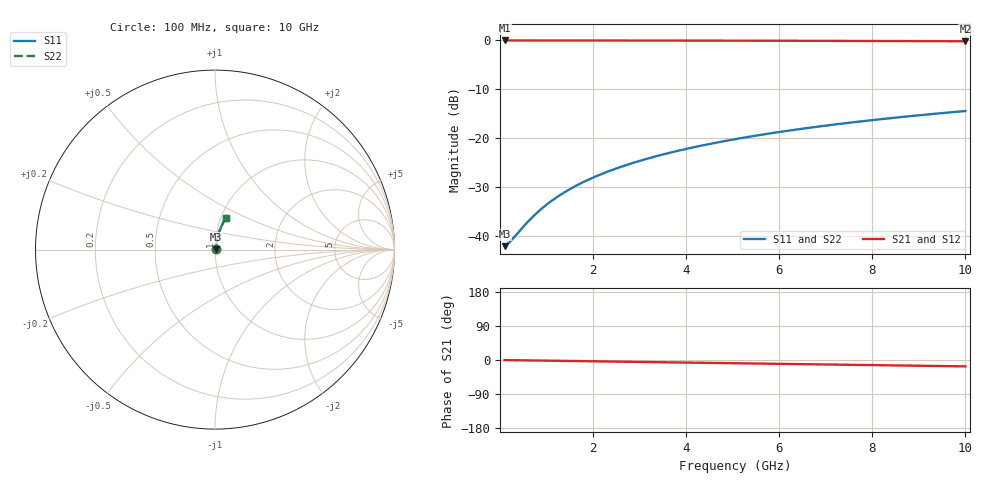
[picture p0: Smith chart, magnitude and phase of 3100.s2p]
# Hz S RI R 50.00
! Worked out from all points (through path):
!   100 points, 100 MHz to 10 GHz, reference 50 ohm
!   highest |S21| = -0.07 dB at 100 MHz (marker M1); lowest = -0.2 dB at 10 GHz (marker M2)
!   group delay of S21, straight-line fit = 4.67 ps
!   lowest |S11| = -42.1 dB at 100 MHz (marker M3), VSWR 1.02, Z = 50.8 + j0.194 ohm
!   |S11| at or under -10 dB: start of sweep to end of sweep
!   |S22| runs from -42.1 to -14.5 dB; largest |S21 - S12| = 0
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1e8  0.00764 0.00191  0.9924 -0.00294  0.9924 -0.00294  0.00764 0.00191
2e8  0.00771 0.00382  0.9923 -0.00588  0.9923 -0.00588  0.00771 0.00382
3e8  0.00777 0.00573  0.9922 -0.00882  0.9922 -0.00882  0.00777 0.00573
5e8  0.00792 0.00956  0.9921 -0.0147  0.9921 -0.0147  0.00792 0.00956
7e8  0.0081 0.0134  0.9919 -0.0206  0.9919 -0.0206  0.0081 0.0134
8e8  0.0082 0.0153  0.9918 -0.0235  0.9918 -0.0235  0.0082 0.0153
1e9  0.00844 0.0191  0.9915 -0.0294  0.9915 -0.0294  0.00844 0.0191
1.2e9  0.00872 0.0229  0.9912 -0.0353  0.9912 -0.0353  0.00872 0.0229
1.4e9  0.00904 0.0267  0.9908 -0.0411  0.9908 -0.0411  0.00904 0.0267
1.6e9  0.0094 0.0305  0.9904 -0.047  0.9904 -0.047  0.0094 0.0305
1.8e9  0.0098 0.0343  0.99 -0.0528  0.99 -0.0528  0.0098 0.0343
2.1e9  0.0105 0.04  0.9892 -0.0616  0.9892 -0.0616  0.0105 0.04
2.5e9  0.0116 0.0476  0.9881 -0.0733  0.9881 -0.0733  0.0116 0.0476
2.9e9  0.0128 0.0551  0.9867 -0.0849  0.9867 -0.0849  0.0128 0.0551
3.4e9  0.0146 0.0644  0.9847 -0.0995  0.9847 -0.0995  0.0146 0.0644
4.2e9  0.0181 0.0792  0.9809 -0.1225  0.9809 -0.1225  0.0181 0.0792
5.1e9  0.0228 0.0957  0.9758 -0.1482  0.9758 -0.1482  0.0228 0.0957
5.9e9  0.0277 0.11  0.9704 -0.1708  0.9704 -0.1708  0.0277 0.11
6.7e9  0.0332 0.124  0.9643 -0.1932  0.9643 -0.1932  0.0332 0.124
7.5e9  0.0394 0.1377  0.9575 -0.2152  0.9575 -0.2152  0.0394 0.1377
8.4e9  0.047 0.1528  0.9491 -0.2395  0.9491 -0.2395  0.047 0.1528
1e10  0.0625 0.1782  0.932 -0.2817  0.932 -0.2817  0.0625 0.1782
